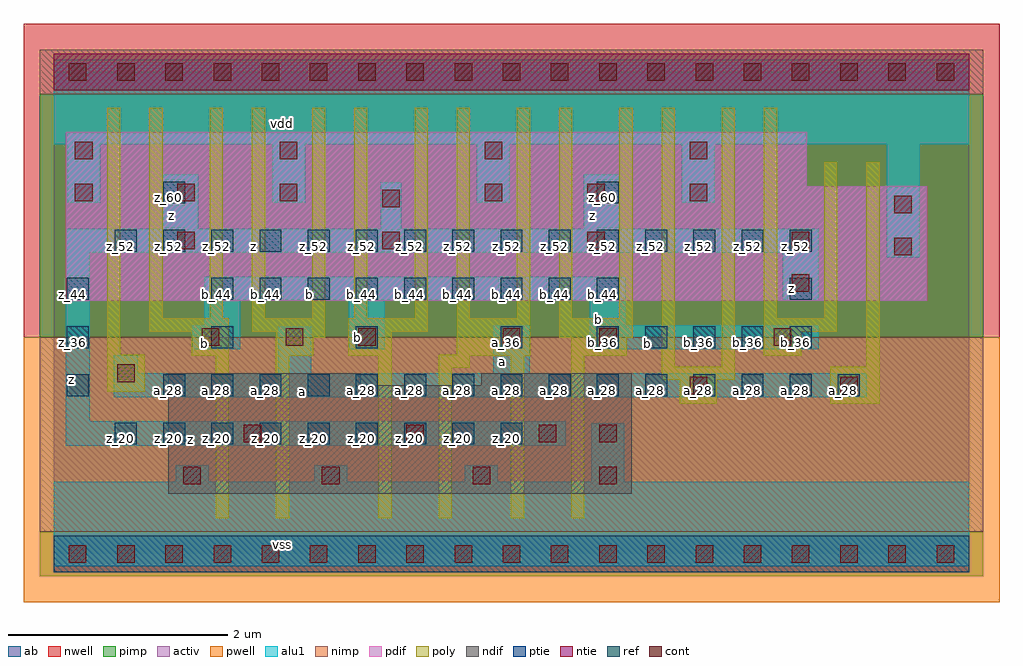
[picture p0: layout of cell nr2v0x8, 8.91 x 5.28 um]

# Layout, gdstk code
import gdstk
lib = gdstk.Library(unit=1e-6, precision=2.5e-09)
def R(c, l, rs):  # rectangles x0, y0, x1, y1
    for r in rs: c.add(gdstk.rectangle(r[:2], r[2:], *l))
def A(c, l, x, y, w, h, nx, ny, dx, dy):  # array of equal rectangles
    R(c, l, [(x+i*dx, y+j*dy, x+i*dx+w, y+j*dy+h) for i in range(nx) for j in range(ny)])
ndif = (3, 0)
pdif = (4, 0)
ntie = (5, 0)
ptie = (6, 0)
ref = (24, 0)
cont = (25, 0)
pwell = (41, 0)
nwell = (42, 0)
activ = (43, 0)
pimp = (44, 0)
nimp = (45, 0)
poly = (46, 0)
alu1 = (49, 0)
ab = (63, 0)

nr2v0x8 = lib.new_cell('nr2v0x8')
R(nr2v0x8, ndif, [(1.045,0.55,5.28,1.54), (1.045,1.54,2.805,1.65), (3.905,1.54,5.28,1.65)])
R(nr2v0x8, pdif, [(0.11,2.31,7.975,3.355), (0.11,3.355,6.875,3.85)])
R(nr2v0x8, ntie, [(0,4.235,8.36,4.565)])
R(nr2v0x8, ptie, [(0,-0.165,8.36,0.165)])
A(nr2v0x8, ref, 0.56, 1, 0.2, 0.2, 9, 1, 0.44, 0)
A(nr2v0x8, ref, 1, 1.44, 0.2, 0.2, 15, 1, 0.44, 0)
A(nr2v0x8, ref, 0.12, 1.88, 0.2, 0.2, 4, 1, 1.32, 0)
A(nr2v0x8, ref, 4.96, 1.88, 0.2, 0.2, 5, 1, 0.44, 0)
A(nr2v0x8, ref, 1.44, 2.32, 0.2, 0.2, 9, 1, 0.44, 0)
A(nr2v0x8, ref, 0.56, 2.76, 0.2, 0.2, 15, 1, 0.44, 0)
R(nr2v0x8, ref, [(0.12,1.44,0.32,1.64), (0.12,2.32,0.32,2.52), (6.72,2.32,6.92,2.52), (1,3.2,1.2,3.4), (4.96,3.2,5.16,3.4)])
A(nr2v0x8, cont, 0.14, -0.08, 0.16, 0.16, 19, 2, 0.44, 4.4)
A(nr2v0x8, cont, 1.13, 2.78, 0.16, 0.16, 4, 1, 1.87, 0)
A(nr2v0x8, cont, 0.195, 3.22, 0.16, 0.16, 3, 1, 0.935, 0)
A(nr2v0x8, cont, 3.935, 3.22, 0.16, 0.16, 3, 1, 0.935, 0)
A(nr2v0x8, cont, 0.195, 3.605, 0.16, 0.16, 4, 1, 1.87, 0)
R(nr2v0x8, cont, [(1.185,0.635,1.345,0.795), (2.45,0.635,2.61,0.795), (3.825,0.635,3.985,0.795), (4.98,0.635,5.14,0.795), (1.735,1.02,1.895,1.18), (3.22,1.02,3.38,1.18), (4.43,1.02,4.59,1.18), (4.98,1.02,5.14,1.18), (5.805,1.46,5.965,1.62), (7.18,1.46,7.34,1.62), (0.58,1.57,0.74,1.73), (1.35,1.9,1.51,2.06), (2.12,1.9,2.28,2.06), (2.78,1.9,2.94,2.06), (4.1,1.9,4.26,2.06), (4.98,1.9,5.14,2.06), (6.575,1.9,6.735,2.06), (6.74,2.395,6.9,2.555), (7.675,2.725,7.835,2.885), (7.675,3.11,7.835,3.27), (3,3.165,3.16,3.325)])
R(nr2v0x8, pwell, [(-0.275,-0.44,8.635,1.98)])
R(nr2v0x8, nwell, [(-0.275,1.98,8.635,4.84)])
R(nr2v0x8, activ, [(0,-0.165,8.36,0.165), (1.045,0.55,5.28,1.54), (1.045,1.54,2.805,1.65), (3.905,1.54,5.28,1.65), (0.11,2.31,7.975,3.355), (0.11,3.355,6.875,3.85), (0,4.235,8.36,4.565)])
R(nr2v0x8, pimp, [(-0.125,-0.205,8.485,0.205), (-0.125,1.98,8.485,4.195)])
R(nr2v0x8, nimp, [(-0.125,0.205,8.485,1.98), (-0.125,4.195,8.485,4.605)])
R(nr2v0x8, poly, [(1.48,0.325,1.6,1.81), (2.03,0.325,2.15,1.81), (2.965,0.325,3.085,1.81), (3.515,0.325,3.635,1.7), (4.175,0.325,4.295,1.81), (4.725,0.325,4.845,1.81), (5.715,1.37,6.055,1.59), (7.09,1.37,7.54,1.71), (0.49,1.48,0.83,1.82), (5.55,1.59,6.22,1.71), (3.515,1.7,3.8,1.81), (5.55,1.71,5.67,4.075), (6.1,1.71,6.22,4.075), (7.42,1.71,7.54,3.58), (1.26,1.81,1.6,2.03), (2.03,1.81,2.37,1.975), (2.69,1.81,3.085,2.03), (3.515,1.81,4.35,1.82), (4.725,1.81,5.23,1.975), (6.485,1.81,6.825,2.03), (0.49,1.82,0.61,4.075), (3.68,1.82,4.35,2.15), (2.03,1.975,2.48,2.03), (4.615,1.975,5.285,2.15), (0.875,2.03,1.6,2.15), (1.81,2.03,2.48,2.15), (2.69,2.03,3.415,2.15), (6.485,2.03,7.155,2.15), (0.875,2.15,0.995,4.075), (1.425,2.15,1.545,4.075), (1.81,2.15,1.93,4.075), (2.36,2.15,2.48,4.075), (2.745,2.15,2.865,4.075), (3.295,2.15,3.415,4.075), (3.68,2.15,3.8,4.075), (4.23,2.15,4.35,4.075), (4.615,2.15,4.735,4.075), (5.165,2.15,5.285,4.075), (6.485,2.15,6.605,4.075), (7.035,2.15,7.155,3.58)])
A(nr2v0x8, alu1, 0.125, 3.205, 0.3, 0.535, 4, 1, 1.87, 0)
R(nr2v0x8, alu1, [(0,-0.11,8.36,0.66), (1.115,0.66,1.415,0.81), (2.38,0.66,2.68,0.81), (3.755,0.66,4.055,0.81), (4.91,0.66,5.21,1.195), (0.11,0.99,4.675,1.21), (0.11,1.21,0.33,2.75), (0.55,1.43,7.425,1.65), (0.55,1.65,0.77,1.815), (2.05,1.65,2.35,2.075), (4.015,1.65,4.345,2.09), (1.265,1.87,1.705,2.09), (2.695,1.87,3.025,2.31), (4.895,1.87,6.985,2.09), (1.375,2.09,1.705,2.31), (4.895,2.09,5.225,2.31), (1.375,2.31,5.225,2.53), (6.655,2.31,6.985,2.75), (7.605,2.71,7.905,3.74), (0.11,2.75,6.985,2.97), (0.99,2.97,1.32,3.465), (2.985,2.97,3.175,3.395), (4.84,2.97,5.17,3.465), (0,3.74,8.36,4.51)])
R(nr2v0x8, ab, [(0,0,8.36,4.4)])
nr2v0x8.add(gdstk.Label('vss', (2.09,0.0825), layer=49, texttype=0))
nr2v0x8.add(gdstk.Label('z', (1.25,1.045), layer=49, texttype=0))
nr2v0x8.add(gdstk.Label('a', (2.2675,1.485), layer=49, texttype=0))
nr2v0x8.add(gdstk.Label('b', (5.4175,1.925), layer=49, texttype=0))
nr2v0x8.add(gdstk.Label('a', (4.0975,1.76), layer=49, texttype=0))
nr2v0x8.add(gdstk.Label('b', (4.9775,2.145), layer=49, texttype=0))
nr2v0x8.add(gdstk.Label('b', (2.7775,1.98), layer=49, texttype=0))
nr2v0x8.add(gdstk.Label('b', (1.375,1.925), layer=49, texttype=0))
nr2v0x8.add(gdstk.Label('z', (6.7375,2.42), layer=49, texttype=0))
nr2v0x8.add(gdstk.Label('b', (2.3375,2.365), layer=49, texttype=0))
nr2v0x8.add(gdstk.Label('z', (0.165,1.595), layer=49, texttype=0))
nr2v0x8.add(gdstk.Label('z', (1.8275,2.805), layer=49, texttype=0))
nr2v0x8.add(gdstk.Label('z', (4.9225,3.0925), layer=49, texttype=0))
nr2v0x8.add(gdstk.Label('z', (1.0725,3.0925), layer=49, texttype=0))
nr2v0x8.add(gdstk.Label('vdd', (2.09,3.9325), layer=49, texttype=0))
nr2v0x8.add(gdstk.Label('z_60', (5.01,3.25), layer=24, texttype=0))
nr2v0x8.add(gdstk.Label('z_52', (5.01,2.81), layer=24, texttype=0))
nr2v0x8.add(gdstk.Label('b_44', (5.01,2.37), layer=24, texttype=0))
nr2v0x8.add(gdstk.Label('b_36', (5.01,1.93), layer=24, texttype=0))
nr2v0x8.add(gdstk.Label('a_28', (5.01,1.49), layer=24, texttype=0))
nr2v0x8.add(gdstk.Label('z_52', (4.57,2.81), layer=24, texttype=0))
nr2v0x8.add(gdstk.Label('b_44', (4.57,2.37), layer=24, texttype=0))
nr2v0x8.add(gdstk.Label('a_28', (4.57,1.49), layer=24, texttype=0))
nr2v0x8.add(gdstk.Label('z_52', (4.13,2.81), layer=24, texttype=0))
nr2v0x8.add(gdstk.Label('b_44', (4.13,2.37), layer=24, texttype=0))
nr2v0x8.add(gdstk.Label('a_36', (4.13,1.93), layer=24, texttype=0))
nr2v0x8.add(gdstk.Label('a_28', (4.13,1.49), layer=24, texttype=0))
nr2v0x8.add(gdstk.Label('z_20', (4.13,1.05), layer=24, texttype=0))
nr2v0x8.add(gdstk.Label('z_52', (3.69,2.81), layer=24, texttype=0))
nr2v0x8.add(gdstk.Label('b_44', (3.69,2.37), layer=24, texttype=0))
nr2v0x8.add(gdstk.Label('a_28', (3.69,1.49), layer=24, texttype=0))
nr2v0x8.add(gdstk.Label('z_20', (3.69,1.05), layer=24, texttype=0))
nr2v0x8.add(gdstk.Label('z_52', (3.25,2.81), layer=24, texttype=0))
nr2v0x8.add(gdstk.Label('b_44', (3.25,2.37), layer=24, texttype=0))
nr2v0x8.add(gdstk.Label('a_28', (3.25,1.49), layer=24, texttype=0))
nr2v0x8.add(gdstk.Label('z_20', (3.25,1.05), layer=24, texttype=0))
nr2v0x8.add(gdstk.Label('z_52', (2.81,2.81), layer=24, texttype=0))
nr2v0x8.add(gdstk.Label('b_44', (2.81,2.37), layer=24, texttype=0))
nr2v0x8.add(gdstk.Label('b_36', (2.81,1.93), layer=24, texttype=0))
nr2v0x8.add(gdstk.Label('a_28', (2.81,1.49), layer=24, texttype=0))
nr2v0x8.add(gdstk.Label('z_20', (2.81,1.05), layer=24, texttype=0))
nr2v0x8.add(gdstk.Label('z_52', (2.37,2.81), layer=24, texttype=0))
nr2v0x8.add(gdstk.Label('b_44', (2.37,2.37), layer=24, texttype=0))
nr2v0x8.add(gdstk.Label('a_28', (2.37,1.49), layer=24, texttype=0))
nr2v0x8.add(gdstk.Label('z_20', (2.37,1.05), layer=24, texttype=0))
nr2v0x8.add(gdstk.Label('z_44', (0.17,2.37), layer=24, texttype=0))
nr2v0x8.add(gdstk.Label('z_36', (0.17,1.93), layer=24, texttype=0))
nr2v0x8.add(gdstk.Label('z_28', (0.17,1.49), layer=24, texttype=0))
nr2v0x8.add(gdstk.Label('z_52', (1.93,2.81), layer=24, texttype=0))
nr2v0x8.add(gdstk.Label('b_44', (1.93,2.37), layer=24, texttype=0))
nr2v0x8.add(gdstk.Label('a_28', (1.93,1.49), layer=24, texttype=0))
nr2v0x8.add(gdstk.Label('z_20', (1.93,1.05), layer=24, texttype=0))
nr2v0x8.add(gdstk.Label('z_52', (1.49,2.81), layer=24, texttype=0))
nr2v0x8.add(gdstk.Label('b_44', (1.49,2.37), layer=24, texttype=0))
nr2v0x8.add(gdstk.Label('b_36', (1.49,1.93), layer=24, texttype=0))
nr2v0x8.add(gdstk.Label('a_28', (1.49,1.49), layer=24, texttype=0))
nr2v0x8.add(gdstk.Label('z_20', (1.49,1.05), layer=24, texttype=0))
nr2v0x8.add(gdstk.Label('z_60', (1.05,3.25), layer=24, texttype=0))
nr2v0x8.add(gdstk.Label('z_52', (1.05,2.81), layer=24, texttype=0))
nr2v0x8.add(gdstk.Label('a_28', (1.05,1.49), layer=24, texttype=0))
nr2v0x8.add(gdstk.Label('z_20', (1.05,1.05), layer=24, texttype=0))
nr2v0x8.add(gdstk.Label('a_28', (7.21,1.49), layer=24, texttype=0))
nr2v0x8.add(gdstk.Label('z_52', (6.77,2.81), layer=24, texttype=0))
nr2v0x8.add(gdstk.Label('z_52', (6.77,2.37), layer=24, texttype=0))
nr2v0x8.add(gdstk.Label('b_36', (6.77,1.93), layer=24, texttype=0))
nr2v0x8.add(gdstk.Label('a_28', (6.77,1.49), layer=24, texttype=0))
nr2v0x8.add(gdstk.Label('z_52', (0.61,2.81), layer=24, texttype=0))
nr2v0x8.add(gdstk.Label('z_20', (0.61,1.05), layer=24, texttype=0))
nr2v0x8.add(gdstk.Label('z_52', (6.33,2.81), layer=24, texttype=0))
nr2v0x8.add(gdstk.Label('b_36', (6.33,1.93), layer=24, texttype=0))
nr2v0x8.add(gdstk.Label('a_28', (6.33,1.49), layer=24, texttype=0))
nr2v0x8.add(gdstk.Label('z_52', (5.89,2.81), layer=24, texttype=0))
nr2v0x8.add(gdstk.Label('b_36', (5.89,1.93), layer=24, texttype=0))
nr2v0x8.add(gdstk.Label('a_28', (5.89,1.49), layer=24, texttype=0))
nr2v0x8.add(gdstk.Label('z_52', (5.45,2.81), layer=24, texttype=0))
nr2v0x8.add(gdstk.Label('b_36', (5.45,1.93), layer=24, texttype=0))
nr2v0x8.add(gdstk.Label('a_28', (5.45,1.49), layer=24, texttype=0))

lib.write_gds('nr2v0x8.gds')
